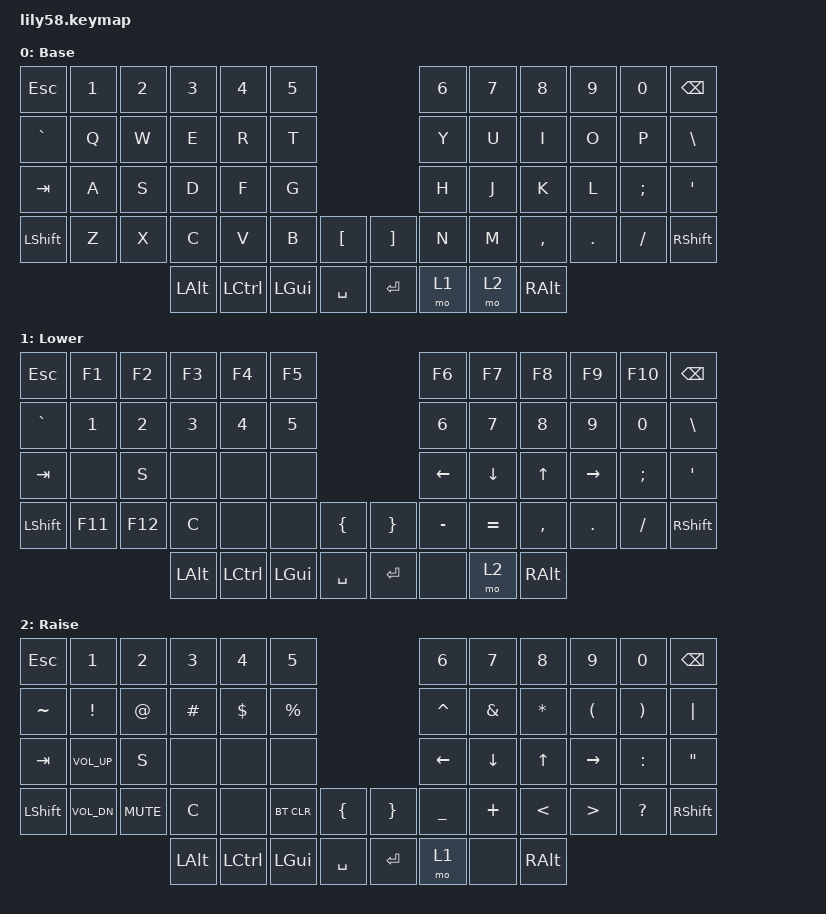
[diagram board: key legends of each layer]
/*
 * Copyright (c) 2020 The ZMK Contributors
 *
 * SPDX-License-Identifier: MIT
 *
 * Modified by Lokesh Kumar (https://github.com/codetit4n)
 */

#include <behaviors.dtsi>
#include <dt-bindings/zmk/keys.h>
#include <dt-bindings/zmk/bt.h>
#include <dt-bindings/zmk/ext_power.h>

/ {
    keymap {
        compatible = "zmk,keymap";

        default_layer {
            display-name = "Base";
            bindings = <
&kp ESC     &kp N1 &kp N2 &kp N3   &kp N4       &kp N5                              &kp N6 &kp N7   &kp N8    &kp N9  &kp N0   &kp BSPC
&kp GRAVE   &kp Q  &kp W  &kp E    &kp R        &kp T                               &kp Y  &kp U    &kp I     &kp O   &kp P    &kp BSLH
&kp TAB     &kp A  &kp S  &kp D    &kp F        &kp G                               &kp H  &kp J    &kp K     &kp L   &kp SEMI &kp SQT
&kp LSHFT   &kp Z  &kp X  &kp C    &kp V        &kp B       &kp LBKT    &kp RBKT    &kp N  &kp M    &kp COMMA &kp DOT &kp FSLH &kp RSHFT
                          &kp LALT &kp LCTRL    &kp LGUI    &kp SPACE   &kp RET     &mo 1  &mo 2    &kp RALT
            >;

        };

        lower_layer {
            display-name = "Lower";
            bindings = <
&kp ESC     &kp F1      &kp F2      &kp F3      &kp F4      &kp F5                              &kp F6      &kp F7      &kp F8          &kp F9      &kp F10     &kp BSPC
&kp GRAVE   &kp N1      &kp N2      &kp N3      &kp N4      &kp N5                              &kp N6      &kp N7      &kp N8          &kp N9      &kp N0      &kp BSLH
&kp TAB     &none       &kp S       &none       &none       &none                               &kp LEFT    &kp DOWN    &kp UP          &kp RIGHT   &kp SEMI    &kp SQT
&kp LSHFT   &kp F11     &kp F12     &kp C       &none       &none       &kp LBRC    &kp RBRC    &kp MINUS   &kp EQUAL   &kp COMMA       &kp DOT     &kp FSLH    &kp RSHFT
                                    &kp LALT    &kp LCTRL   &kp LGUI    &kp SPACE   &kp RET     &none       &mo 2       &kp RALT
            >;

        };

        raise_layer {
            display-name = "Raise";
            bindings = <
&kp ESC     &kp N1          &kp N2          &kp N3          &kp N4      &kp N5                              &kp N6      &kp N7      &kp N8      &kp N9      &kp N0      &kp BSPC
&kp TILDE   &kp EXCL        &kp AT          &kp HASH        &kp DLLR    &kp PRCNT                           &kp CARET   &kp AMPS    &kp ASTRK   &kp LPAR    &kp RPAR    &kp PIPE
&kp TAB     &kp C_VOL_UP    &kp S           &none           &none       &none                               &kp LEFT    &kp DOWN    &kp UP      &kp RIGHT   &kp COLON   &kp DQT
&kp LSHFT   &kp C_VOL_DN    &kp C_MUTE      &kp C           &none       &bt BT_CLR  &kp LBRC    &kp RBRC    &kp UNDER   &kp PLUS    &kp LT      &kp GT      &kp QMARK   &kp RSHFT
                                            &kp LALT        &kp LCTRL   &kp LGUI    &kp SPACE   &kp RET     &mo 1       &none       &kp RALT
            >;

        };

    };
};
